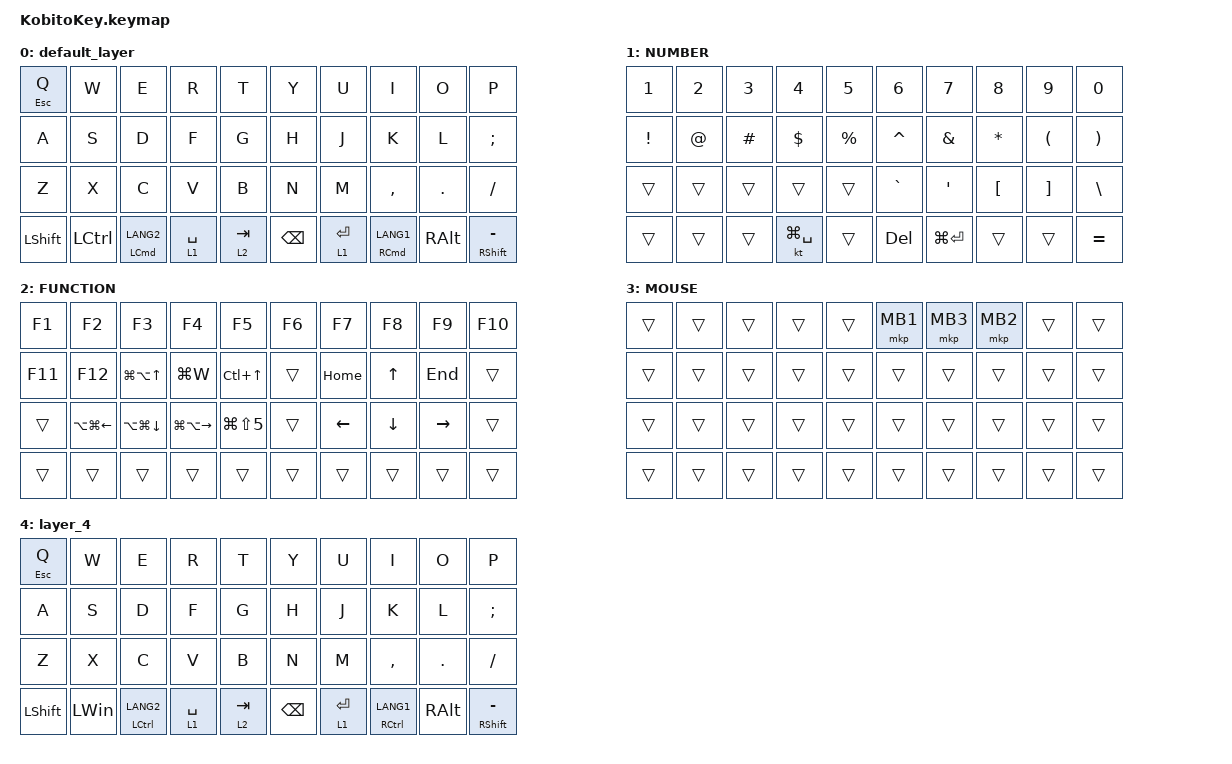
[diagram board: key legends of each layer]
#include <input/processors.dtsi>
#include <behaviors.dtsi>
#include <dt-bindings/zmk/keys.h>
#include <dt-bindings/zmk/pointing.h>

&mt {
    flavor = "balanced";
    quick-tap-ms = <0>;
};

/ {
    combos {
        compatible = "zmk,combos";

        combo_esc {
            timeout-ms = <50>;
            key-positions = <0 1>;
            bindings = <&kp ESC>;
        };

        combo_tab {
            bindings = <&kp TAB>;
            key-positions = <10 11>;
        };
    };

    keymap {
        compatible = "zmk,keymap";

        default_layer {
            bindings = <
&mt ESCAPE Q    &kp W             &kp E           &kp R        &kp T      &kp Y     &kp U        &kp I           &kp O          &kp P
&kp A           &kp S             &kp D           &kp F        &kp G      &kp H     &kp J        &kp K           &kp L          &kp SEMI
&kp Z           &kp X             &kp C           &kp V        &kp B      &kp N     &kp M        &kp COMMA       &kp DOT        &kp SLASH
&kp LEFT_SHIFT  &kp LEFT_CONTROL  &mt LCMD LANG2  &lt 1 SPACE  &lt 2 TAB  &kp BSPC  &lt 1 ENTER  &mt RCMD LANG1  &kp RIGHT_ALT  &mt RIGHT_SHIFT MINUS
            >;
        };

        layer1 {
            label = "NUMBER";
            bindings = <
&kp N1           &kp N2       &kp N3    &kp N4         &kp N5       &kp N6      &kp N7         &kp N8            &kp N9                &kp N0
&kp EXCLAMATION  &kp AT_SIGN  &kp HASH  &kp DOLLAR     &kp PERCENT  &kp CARET   &kp AMPERSAND  &kp ASTERISK      &kp LEFT_PARENTHESIS  &kp RIGHT_PARENTHESIS
&trans           &trans       &trans    &trans         &trans       &kp GRAVE   &kp SQT        &kp LEFT_BRACKET  &kp RIGHT_BRACKET     &kp BACKSLASH
&trans           &trans       &trans    &kt LG(SPACE)  &trans       &kp DELETE  &kp LG(ENTER)  &trans            &trans                &kp EQUAL
            >;
        };

        layer2 {
            label = "FUNCTION";
            bindings = <
&kp F1   &kp F2                  &kp F3                  &kp F4                   &kp F5                &kp F6  &kp F7          &kp F8          &kp F9           &kp F10
&kp F11  &kp F12                 &kp LG(LA(UP_ARROW))    &kp LG(W)                &kp LC(UP_ARROW)      &trans  &kp HOME        &kp UP_ARROW    &kp END          &trans
&trans   &kp LA(LG(LEFT_ARROW))  &kp LA(LG(DOWN_ARROW))  &kp LG(LA(RIGHT_ARROW))  &kp LG(LS(NUMBER_5))  &trans  &kp LEFT_ARROW  &kp DOWN_ARROW  &kp RIGHT_ARROW  &trans
&trans   &trans                  &trans                  &trans                   &trans                &trans  &trans          &trans          &trans           &trans
            >;
        };

        layer3 {
            label = "MOUSE";
            bindings = <
&trans  &trans  &trans  &trans  &trans  &mkp MB1  &mkp MB3  &mkp MB2  &trans  &trans
&trans  &trans  &trans  &trans  &trans  &trans    &trans    &trans    &trans  &trans
&trans  &trans  &trans  &trans  &trans  &trans    &trans    &trans    &trans  &trans
&trans  &trans  &trans  &trans  &trans  &trans    &trans    &trans    &trans  &trans
            >;
        };

        layer_4 {
            bindings = <
&mt ESCAPE Q    &kp W         &kp E                   &kp R        &kp T      &kp Y     &kp U        &kp I                    &kp O          &kp P
&kp A           &kp S         &kp D                   &kp F        &kp G      &kp H     &kp J        &kp K                    &kp L          &kp SEMI
&kp Z           &kp X         &kp C                   &kp V        &kp B      &kp N     &kp M        &kp COMMA                &kp DOT        &kp SLASH
&kp LEFT_SHIFT  &kp LEFT_WIN  &mt LEFT_CONTROL LANG2  &lt 1 SPACE  &lt 2 TAB  &kp BSPC  &lt 1 ENTER  &mt RIGHT_CONTROL LANG1  &kp RIGHT_ALT  &mt RIGHT_SHIFT MINUS
            >;
        };
    };
};
